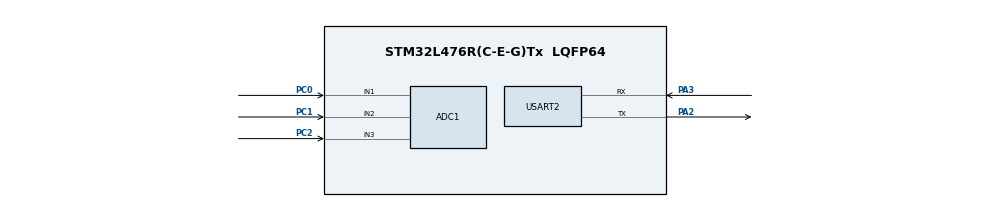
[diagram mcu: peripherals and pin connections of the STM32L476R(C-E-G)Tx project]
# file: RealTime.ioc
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ADC1.Channel-0\#ChannelRegularConversion=ADC_CHANNEL_1
ADC1.Channel-1\#ChannelRegularConversion=ADC_CHANNEL_2
ADC1.Channel-2\#ChannelRegularConversion=ADC_CHANNEL_3
ADC1.DMAContinuousRequests=ENABLE
ADC1.ExternalTrigConv=ADC_EXTERNALTRIG_T3_TRGO
ADC1.NbrOfConversion=3
ADC1.NbrOfConversionFlag=1
ADC1.OffsetNumber-0\#ChannelRegularConversion=ADC_OFFSET_NONE
ADC1.OffsetNumber-1\#ChannelRegularConversion=ADC_OFFSET_NONE
ADC1.OffsetNumber-2\#ChannelRegularConversion=ADC_OFFSET_NONE
ADC1.Rank-0\#ChannelRegularConversion=1
ADC1.Rank-1\#ChannelRegularConversion=2
ADC1.Rank-2\#ChannelRegularConversion=3
ADC1.SamplingTime-0\#ChannelRegularConversion=ADC_SAMPLETIME_2CYCLES_5
ADC1.SamplingTime-1\#ChannelRegularConversion=ADC_SAMPLETIME_2CYCLES_5
ADC1.SamplingTime-2\#ChannelRegularConversion=ADC_SAMPLETIME_2CYCLES_5
ADC1.master=1
Dma.ADC1.0.Direction=DMA_PERIPH_TO_MEMORY
Dma.ADC1.0.Instance=DMA1_Channel1
Dma.ADC1.0.MemDataAlignment=DMA_MDATAALIGN_WORD
Dma.ADC1.0.MemInc=DMA_MINC_ENABLE
Dma.ADC1.0.Mode=DMA_CIRCULAR
Dma.ADC1.0.PeriphDataAlignment=DMA_PDATAALIGN_WORD
Dma.ADC1.0.PeriphInc=DMA_PINC_DISABLE
Dma.ADC1.0.Priority=DMA_PRIORITY_LOW
Dma.Request0=ADC1
Mcu.Family=STM32L4
Mcu.Name=STM32L476R(C-E-G)Tx
Mcu.Package=LQFP64
NVIC.DMA1_Channel1_IRQn=true\:0\:0\:false\:false\:true\:false\:true\:true
NVIC.PriorityGroup=NVIC_PRIORITYGROUP_4
NVIC.USART2_IRQn=true\:0\:0\:false\:false\:true\:true\:true\:true
PA2.Mode=Asynchronous
PA2.Signal=USART2_TX
PA3.Mode=Asynchronous
PA3.Signal=USART2_RX
PC0.Signal=ADCx_IN1
PC1.Signal=ADCx_IN2
PC2.Signal=ADCx_IN3
ProjectManager.HeapSize=0x200
ProjectManager.StackSize=0x400
ProjectManager.TargetToolchain=STM32CubeIDE
RCC.ADCFreq_Value=32000000
RCC.HSE_VALUE=8000000
RCC.HSI_VALUE=16000000
RCC.LSE_VALUE=32768
RCC.MSI_VALUE=4000000
RCC.PLLSAI1N=16
RCC.USBFreq_Value=32000000
RCC.VCOOutputFreq_Value=32000000
SH.ADCx_IN1.0=ADC1_IN1,IN1-Single-Ended
SH.ADCx_IN2.0=ADC2_IN2
SH.ADCx_IN2.1=ADC1_IN2,IN2-Single-Ended
SH.ADCx_IN3.0=ADC1_IN3,IN3-Single-Ended
TIM3.Period=999
TIM3.Prescaler=3
TIM3.TIM_MasterOutputTrigger=TIM_TRGO_UPDATE
USART2.VirtualMode-Asynchronous=VM_ASYNC
VP_TIM3_VS_ClockSourceINT.Mode=Internal
board=custom

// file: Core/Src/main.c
/* USER CODE BEGIN Header */
/**
  ******************************************************************************
  * @file           : main.c
  * @brief          : Main program body
  ******************************************************************************
  * @attention
  *
  * Copyright (c) 2025 STMicroelectronics.
  * All rights reserved.
  *
  * This software is licensed under terms that can be found in the LICENSE file
  * in the root directory of this software component.
  * If no LICENSE file comes with this software, it is provided AS-IS.
  *
  ******************************************************************************
  */
/* USER CODE END Header */
#include "main.h"

/* USER CODE BEGIN Includes */

#include <stdio.h>
#include <stdlib.h>
#include <string.h>
#include <errno.h>
#include <fcntl.h>
#include <time.h>
#include <assert.h>
#include <math.h>
#include "function.h"

/* USER CODE END Includes */

ADC_HandleTypeDef hadc1;
DMA_HandleTypeDef hdma_adc1;

TIM_HandleTypeDef htim3;

UART_HandleTypeDef huart2;

void SystemClock_Config(void);
static void MX_GPIO_Init(void);
static void MX_DMA_Init(void);
static void MX_ADC1_Init(void);
static void MX_TIM3_Init(void);
static void MX_USART2_UART_Init(void);

/* USER CODE BEGIN 0 */

uint32_t ADC_VAL[40];
uint8_t UART2_rxBuffer;
int indext = 0;

float *TrainData;
float *TestData;
int *TrainClass;
float *Feature_matrix;
FILE *TraindataFile=NULL;
FILE *TestdataFile=NULL;
FILE *PSFile=NULL;
FILE *WgCgFile=NULL;
FILE *FeatureMatrixFile=NULL;
int i,j,m;
float *Wg;
float *Cg;
float accuracy;
float test_accuracy = 0.0;
int num_correct;
int total_win_num;
int test_decision;
float *xmean;
float *xstd;
int trial_idx=0;
int class_idx=0;
int feature_matrix_idx=0;

/* USER CODE END 0 */

int main(void)
{

  /* USER CODE BEGIN 1 */

	Wg=(float*)malloc(FEATURE_DIM*CLASS*sizeof(float));
	Cg=(float*)malloc(1*CLASS*sizeof(float));
	xmean=(float*)malloc(1*FEATURE_DIM*sizeof(float));
	xstd=(float*)malloc(1*FEATURE_DIM*sizeof(float));
	TrainData = (float*)malloc(CHANNEL*DATA_PER_TRIAL*sizeof(float));  //raw EMG data of the training dataset
	TestData = (float*)malloc(CHANNEL*DATA_PER_TRIAL*sizeof(float));  //raw EMG data of the training dataset
	TrainClass = (int*)malloc(CLASS*WIN_PER_TRIAL*TRIAL_PER_CLASS*sizeof(int));     //class label for the training dataset
	Feature_matrix = (float*)malloc(CLASS*WIN_PER_TRIAL*TRIAL_PER_CLASS*FEATURE_DIM*sizeof(float));

	// Initialize dynamically allocated memory
	float Wg_init[FEATURE_DIM * CLASS] = {
	-39.865700, 38.494923, 1.370464,
	9.822060, -5.708473, -4.113415,
	-18.450970, 12.169329, 6.281702,
	-53.120068, 30.987568, 22.132446,
	-29.518837, 22.895094, 6.623897,
	26.794121, -22.134504, -4.659643,
	10.020878, -1.226090, -8.794820,
	-30.046625, 22.034584, 8.012098,
	-20.616077, 21.666063, -1.050015,
	-7.809905, 12.735570, -4.925624,
	-22.981161, 15.353989, 7.627159,
	-9.838930, 4.600960, 5.238039
	};

	float Cg_init[CLASS] = { -114.407043 ,-79.437294 ,-18.518524 };

	float xmean_init[FEATURE_DIM] = {0.028282, 0.016302, 0.281820, 0.597252, 0.009159, -0.000722, 0.163879, 0.506750, 0.038467, 0.031548, 0.411250, 0.871206};

	float xstd_init[FEATURE_DIM] = {0.026960, 0.022577, 0.206790, 0.364972, 0.005131, 0.002215, 0.159099, 0.324362, 0.038447, 0.043558, 0.198841, 0.211047};

  /* USER CODE END 1 */

  /* MCU Configuration--------------------------------------------------------*/

  /* Reset of all peripherals, Initializes the Flash interface and the Systick. */
  HAL_Init();

  /* USER CODE BEGIN Init */

  for (i = 0; i < FEATURE_DIM * CLASS; i++) {
          Wg[i] = Wg_init[i];
      }
      for (i = 0; i < CLASS; i++) {
          Cg[i] = Cg_init[i];
      }
      for (i = 0; i < FEATURE_DIM; i++) {
          xmean[i] = xmean_init[i];
          xstd[i] = xstd_init[i];
      }

  /* USER CODE END Init */

  /* Configure the system clock */
  SystemClock_Config();

  /* Initialize all configured peripherals */
  MX_GPIO_Init();
  MX_DMA_Init();
  MX_ADC1_Init();
  MX_TIM3_Init();
  MX_USART2_UART_Init();
  /* USER CODE BEGIN 2 */
  HAL_UART_Receive_IT (&huart2, &UART2_rxBuffer, 1);
   //HAL_TIM_Base_Start(&htim3);
   //HAL_ADC_Start_DMA(&hadc1,ADC_VAL, 3);

  /* USER CODE END 2 */

  /* Infinite loop */
  while (1)
  {

  }
}

void SystemClock_Config(void)
{
  RCC_OscInitTypeDef RCC_OscInitStruct = {0};
  RCC_ClkInitTypeDef RCC_ClkInitStruct = {0};

  /** Configure the main internal regulator output voltage
  */
  if (HAL_PWREx_ControlVoltageScaling(PWR_REGULATOR_VOLTAGE_SCALE1) != HAL_OK)
  {
    Error_Handler();
  }

  /** Initializes the RCC Oscillators according to the specified parameters
  * in the RCC_OscInitTypeDef structure.
  */
  RCC_OscInitStruct.OscillatorType = RCC_OSCILLATORTYPE_MSI;
  RCC_OscInitStruct.MSIState = RCC_MSI_ON;
  RCC_OscInitStruct.MSICalibrationValue = 0;
  RCC_OscInitStruct.MSIClockRange = RCC_MSIRANGE_6;
  RCC_OscInitStruct.PLL.PLLState = RCC_PLL_NONE;
  if (HAL_RCC_OscConfig(&RCC_OscInitStruct) != HAL_OK)
  {
    Error_Handler();
  }

  /** Initializes the CPU, AHB and APB buses clocks
  */
  RCC_ClkInitStruct.ClockType = RCC_CLOCKTYPE_HCLK|RCC_CLOCKTYPE_SYSCLK
                              |RCC_CLOCKTYPE_PCLK1|RCC_CLOCKTYPE_PCLK2;
  RCC_ClkInitStruct.SYSCLKSource = RCC_SYSCLKSOURCE_MSI;
  RCC_ClkInitStruct.AHBCLKDivider = RCC_SYSCLK_DIV1;
  RCC_ClkInitStruct.APB1CLKDivider = RCC_HCLK_DIV1;
  RCC_ClkInitStruct.APB2CLKDivider = RCC_HCLK_DIV1;

  if (HAL_RCC_ClockConfig(&RCC_ClkInitStruct, FLASH_LATENCY_0) != HAL_OK)
  {
    Error_Handler();
  }
}

static void MX_ADC1_Init(void)
{

  ADC_MultiModeTypeDef multimode = {0};
  ADC_ChannelConfTypeDef sConfig = {0};

  /** Common config
  */
  hadc1.Instance = ADC1;
  hadc1.Init.ClockPrescaler = ADC_CLOCK_ASYNC_DIV1;
  hadc1.Init.Resolution = ADC_RESOLUTION_12B;
  hadc1.Init.DataAlign = ADC_DATAALIGN_RIGHT;
  hadc1.Init.ScanConvMode = ADC_SCAN_ENABLE;
  hadc1.Init.EOCSelection = ADC_EOC_SINGLE_CONV;
  hadc1.Init.LowPowerAutoWait = DISABLE;
  hadc1.Init.ContinuousConvMode = DISABLE;
  hadc1.Init.NbrOfConversion = 3;
  hadc1.Init.DiscontinuousConvMode = DISABLE;
  hadc1.Init.ExternalTrigConv = ADC_EXTERNALTRIG_T3_TRGO;
  hadc1.Init.ExternalTrigConvEdge = ADC_EXTERNALTRIGCONVEDGE_RISING;
  hadc1.Init.DMAContinuousRequests = ENABLE;
  hadc1.Init.Overrun = ADC_OVR_DATA_PRESERVED;
  hadc1.Init.OversamplingMode = DISABLE;
  if (HAL_ADC_Init(&hadc1) != HAL_OK)
  {
    Error_Handler();
  }

  /** Configure the ADC multi-mode
  */
  multimode.Mode = ADC_MODE_INDEPENDENT;
  if (HAL_ADCEx_MultiModeConfigChannel(&hadc1, &multimode) != HAL_OK)
  {
    Error_Handler();
  }

  /** Configure Regular Channel
  */
  sConfig.Channel = ADC_CHANNEL_1;
  sConfig.Rank = ADC_REGULAR_RANK_1;
  sConfig.SamplingTime = ADC_SAMPLETIME_2CYCLES_5;
  sConfig.SingleDiff = ADC_SINGLE_ENDED;
  sConfig.OffsetNumber = ADC_OFFSET_NONE;
  sConfig.Offset = 0;
  if (HAL_ADC_ConfigChannel(&hadc1, &sConfig) != HAL_OK)
  {
    Error_Handler();
  }

  /** Configure Regular Channel
  */
  sConfig.Channel = ADC_CHANNEL_2;
  sConfig.Rank = ADC_REGULAR_RANK_2;
  if (HAL_ADC_ConfigChannel(&hadc1, &sConfig) != HAL_OK)
  {
    Error_Handler();
  }

  /** Configure Regular Channel
  */
  sConfig.Channel = ADC_CHANNEL_3;
  sConfig.Rank = ADC_REGULAR_RANK_3;
  if (HAL_ADC_ConfigChannel(&hadc1, &sConfig) != HAL_OK)
  {
    Error_Handler();
  }

}

static void MX_TIM3_Init(void)
{

  TIM_ClockConfigTypeDef sClockSourceConfig = {0};
  TIM_MasterConfigTypeDef sMasterConfig = {0};

  htim3.Instance = TIM3;
  htim3.Init.Prescaler = 3;
  htim3.Init.CounterMode = TIM_COUNTERMODE_UP;
  htim3.Init.Period = 999;
  htim3.Init.ClockDivision = TIM_CLOCKDIVISION_DIV1;
  htim3.Init.AutoReloadPreload = TIM_AUTORELOAD_PRELOAD_DISABLE;
  if (HAL_TIM_Base_Init(&htim3) != HAL_OK)
  {
    Error_Handler();
  }
  sClockSourceConfig.ClockSource = TIM_CLOCKSOURCE_INTERNAL;
  if (HAL_TIM_ConfigClockSource(&htim3, &sClockSourceConfig) != HAL_OK)
  {
    Error_Handler();
  }
  sMasterConfig.MasterOutputTrigger = TIM_TRGO_UPDATE;
  sMasterConfig.MasterSlaveMode = TIM_MASTERSLAVEMODE_DISABLE;
  if (HAL_TIMEx_MasterConfigSynchronization(&htim3, &sMasterConfig) != HAL_OK)
  {
    Error_Handler();
  }

}

static void MX_USART2_UART_Init(void)
{

  huart2.Instance = USART2;
  huart2.Init.BaudRate = 115200;
  huart2.Init.WordLength = UART_WORDLENGTH_8B;
  huart2.Init.StopBits = UART_STOPBITS_1;
  huart2.Init.Parity = UART_PARITY_NONE;
  huart2.Init.Mode = UART_MODE_TX_RX;
  huart2.Init.HwFlowCtl = UART_HWCONTROL_NONE;
  huart2.Init.OverSampling = UART_OVERSAMPLING_16;
  huart2.Init.OneBitSampling = UART_ONE_BIT_SAMPLE_DISABLE;
  huart2.AdvancedInit.AdvFeatureInit = UART_ADVFEATURE_NO_INIT;
  if (HAL_UART_Init(&huart2) != HAL_OK)
  {
    Error_Handler();
  }

}

static void MX_DMA_Init(void)
{

  /* DMA controller clock enable */
  __HAL_RCC_DMA1_CLK_ENABLE();

  /* DMA interrupt init */
  /* DMA1_Channel1_IRQn interrupt configuration */
  HAL_NVIC_SetPriority(DMA1_Channel1_IRQn, 0, 0);
  HAL_NVIC_EnableIRQ(DMA1_Channel1_IRQn);

}

static void MX_GPIO_Init(void)
{
  GPIO_InitTypeDef GPIO_InitStruct = {0};

  /* GPIO Ports Clock Enable */
  __HAL_RCC_GPIOC_CLK_ENABLE();
  __HAL_RCC_GPIOA_CLK_ENABLE();

  /*Configure GPIO pin : PC1 */
  GPIO_InitStruct.Pin = GPIO_PIN_1;
  GPIO_InitStruct.Mode = GPIO_MODE_ANALOG_ADC_CONTROL;
  GPIO_InitStruct.Pull = GPIO_NOPULL;
  HAL_GPIO_Init(GPIOC, &GPIO_InitStruct);

}

/* USER CODE BEGIN 4 */

void HAL_UART_RxCpltCallback(UART_HandleTypeDef *huart)
{

    char message[] = "Character received: ";
    HAL_UART_Transmit(&huart2, (uint8_t *)message, strlen(message), 100);  // Send message
    HAL_UART_Transmit(&huart2, &UART2_rxBuffer, 1, 100);  // Send received character
    HAL_UART_Transmit(&huart2, (uint8_t *)"\r\n", 2, 100);  // Newline for readability
    //Restart reception for the next character

    if (UART2_rxBuffer == 'a'){
    		HAL_TIM_Base_Start(&htim3);
    		HAL_ADC_Start_DMA(&hadc1,ADC_VAL, 40);

    }
	else if (UART2_rxBuffer == 's'){
		HAL_TIM_Base_Stop(&htim3);
		HAL_ADC_Stop_DMA(&hadc1);
	}

    HAL_UART_Receive_IT(&huart2, &UART2_rxBuffer, 1);

}

void HAL_ADC_ConvHalfCpltCallback(ADC_HandleTypeDef *hadc)
{
    // Called when half of the buffer is filled
    // Process first half of the buffer here
	if ( indext < 160 )
	{
		for (int i = 0; i < 20; i++)
		{
			TestData[indext + i] = ADC_VAL[i];
		}
		indext += 20;
	}
	else
	{
		// Shift TestData left by 20 samples to remove the oldest data
		for (int i = 0; i < 140; i++)
		{
			TestData[i] = TestData[i + 20];
		}

		// Add new 20 samples at the end
		for (int i = 0; i < 20; i++)
		{
			TestData[140 + i] = ADC_VAL[i];
		}

		// If TestData is now full, run LDA_test
		if (indext >= 160)
		{
			RunLDATest();
		}

	}
}

void HAL_ADC_ConvCpltCallback(ADC_HandleTypeDef *hadc)
{
    // Called when second half of ADC_Buffer is filled (20-39)
    if (indext < 160)
    {
        // Add second 20 samples from ADC_Buffer to TestData
        for (int i = 0; i < 20; i++)
        {
            TestData[indext + i] = ADC_VAL[20 + i];
        }
        indext += 20;
    }
    else
    {
        // Shift TestData left by 20 samples to remove the oldest data
        for (int i = 0; i < 140; i++)
        {
            TestData[i] = TestData[i + 20];
        }

        // Add new 20 samples at the end
        for (int i = 0; i < 20; i++)
        {
            TestData[140 + i] = ADC_VAL[20 + i];
        }
    }

    // If TestData is now full, run LDA_test
    if (indext >= 160)
    {
        RunLDATest();
    }
}

void RunLDATest()
{
	  int test_decision = LDA_test(TestData, Wg, Cg, xmean, xstd);

	    // Convert integer to string
	    char message[30];  // Buffer to hold the message
	    sprintf(message, "test_decision: %d\r\n", test_decision);

	    // Send message over UART
	    HAL_UART_Transmit(&huart2, (uint8_t *)message, strlen(message), 100);
}

/* USER CODE END 4 */

void Error_Handler(void)
{
  __disable_irq();
  while (1)
  {
  }
}
